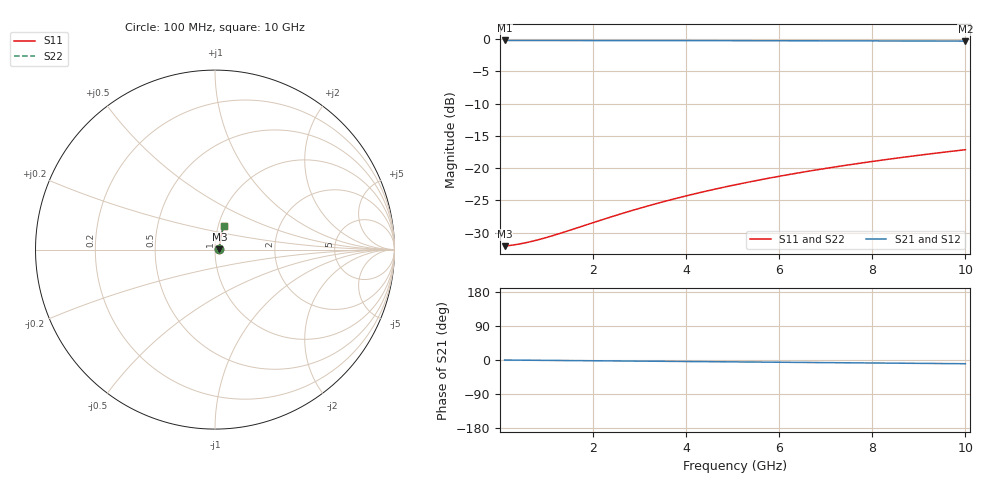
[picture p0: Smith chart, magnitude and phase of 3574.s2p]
# Hz S RI R 50.00
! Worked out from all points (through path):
!   100 points, 100 MHz to 10 GHz, reference 50 ohm
!   highest |S21| = -0.22 dB at 100 MHz (marker M1); lowest = -0.3 dB at 10 GHz (marker M2)
!   group delay of S21, straight-line fit = 2.73 ps
!   lowest |S11| = -32.1 dB at 100 MHz (marker M3), VSWR 1.05, Z = 52.5 + j0.141 ohm
!   |S11| at or under -10 dB: start of sweep to end of sweep
!   |S22| runs from -32.1 to -17.1 dB; largest |S21 - S12| = 0
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1e8  0.0248 0.00134  0.9752 -0.00168  0.9752 -0.00168  0.0248 0.00134
3e8  0.0251 0.00401  0.9749 -0.00504  0.9749 -0.00504  0.0251 0.00401
5e8  0.0254 0.00668  0.9746 -0.00839  0.9746 -0.00839  0.0254 0.00668
8e8  0.0256 0.0107  0.9744 -0.0134  0.9744 -0.0134  0.0256 0.0107
1e9  0.0258 0.0133  0.9742 -0.0168  0.9742 -0.0168  0.0258 0.0133
1.2e9  0.026 0.016  0.974 -0.0201  0.974 -0.0201  0.026 0.016
1.8e9  0.0266 0.024  0.9734 -0.0302  0.9734 -0.0302  0.0266 0.024
2.2e9  0.0271 0.0293  0.9729 -0.0369  0.9729 -0.0369  0.0271 0.0293
2.6e9  0.0276 0.0346  0.9723 -0.0435  0.9723 -0.0435  0.0276 0.0346
3e9  0.0282 0.0399  0.9717 -0.0502  0.9717 -0.0502  0.0282 0.0399
3.4e9  0.0289 0.0452  0.971 -0.0569  0.971 -0.0569  0.0289 0.0452
3.8e9  0.0296 0.0505  0.9703 -0.0635  0.9703 -0.0635  0.0296 0.0505
4.2e9  0.0304 0.0557  0.9695 -0.0702  0.9695 -0.0702  0.0304 0.0557
4.6e9  0.0313 0.061  0.9686 -0.0768  0.9686 -0.0768  0.0313 0.061
5.1e9  0.0324 0.0675  0.9674 -0.085  0.9674 -0.085  0.0324 0.0675
5.5e9  0.0335 0.0727  0.9663 -0.0916  0.9663 -0.0916  0.0335 0.0727
5.9e9  0.0345 0.0779  0.9652 -0.0982  0.9652 -0.0982  0.0345 0.0779
6.7e9  0.0369 0.0882  0.9628 -0.1113  0.9628 -0.1113  0.0369 0.0882
7.5e9  0.0396 0.0985  0.9601 -0.1243  0.9601 -0.1243  0.0396 0.0985
8.4e9  0.0429 0.1099  0.9567 -0.1388  0.9567 -0.1388  0.0429 0.1099
9.2e9  0.0461 0.1199  0.9534 -0.1516  0.9534 -0.1516  0.0461 0.1199
1e10  0.0496 0.1299  0.9498 -0.1643  0.9498 -0.1643  0.0496 0.1299
